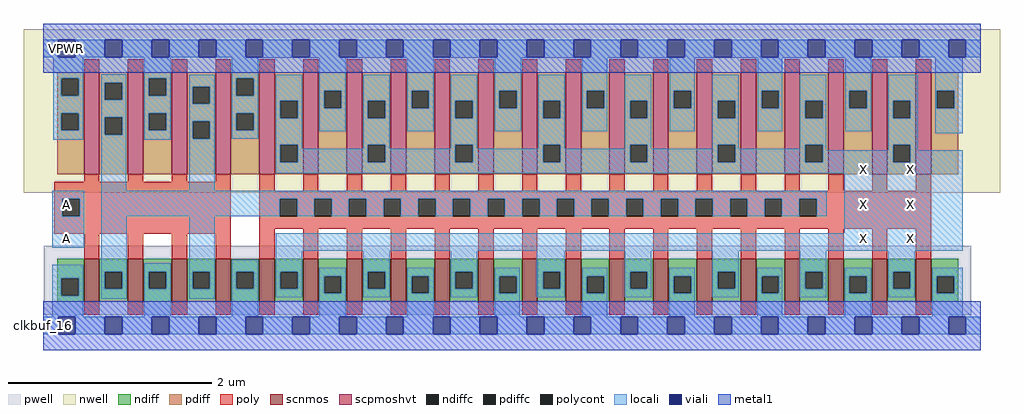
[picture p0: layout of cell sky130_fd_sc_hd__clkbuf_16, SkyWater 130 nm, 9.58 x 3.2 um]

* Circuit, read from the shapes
.subckt sky130_fd_sc_hd__clkbuf_16 VGND VPWR VPB VNB A X
XM1 n1 A VGND VNB sky130_fd_pr__nfet_01v8 w=0.42 l=0.15 m=4
XM2 X n1 VGND VNB sky130_fd_pr__nfet_01v8 w=0.42 l=0.15 m=16
XM3 n1 A VPWR VPB sky130_fd_pr__pfet_01v8_hvt w=1 l=0.15 m=4
XM4 X n1 VPWR VPB sky130_fd_pr__pfet_01v8_hvt w=1 l=0.15 m=16
.ends

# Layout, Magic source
magic
tech sky130B
magscale 1 2
<< nwell >>
rect -38 221 1878 542
<< pwell >>
rect 1 -19 1822 117
rect 29 -57 63 -19
<< scnmos >>
rect 80 7 110 91
rect 166 7 196 91
rect 252 7 282 91
rect 338 7 368 91
rect 424 7 454 91
rect 510 7 540 91
rect 596 7 626 91
rect 682 7 712 91
rect 768 7 798 91
rect 854 7 884 91
rect 940 7 970 91
rect 1026 7 1056 91
rect 1111 7 1141 91
rect 1197 7 1227 91
rect 1283 7 1313 91
rect 1369 7 1399 91
rect 1455 7 1485 91
rect 1541 7 1571 91
rect 1627 7 1657 91
rect 1713 7 1743 91
<< scpmoshvt >>
rect 80 257 110 457
rect 166 257 196 457
rect 252 257 282 457
rect 338 257 368 457
rect 424 257 454 457
rect 510 257 540 457
rect 596 257 626 457
rect 682 257 712 457
rect 768 257 798 457
rect 854 257 884 457
rect 940 257 970 457
rect 1026 257 1056 457
rect 1111 257 1141 457
rect 1197 257 1227 457
rect 1283 257 1313 457
rect 1369 257 1399 457
rect 1455 257 1485 457
rect 1541 257 1571 457
rect 1627 257 1657 457
rect 1713 257 1743 457
<< ndiff >>
rect 27 53 80 91
rect 27 19 35 53
rect 69 19 80 53
rect 27 7 80 19
rect 110 66 166 91
rect 110 32 121 66
rect 155 32 166 66
rect 110 7 166 32
rect 196 66 252 91
rect 196 32 207 66
rect 241 32 252 66
rect 196 7 252 32
rect 282 66 338 91
rect 282 32 293 66
rect 327 32 338 66
rect 282 7 338 32
rect 368 66 424 91
rect 368 32 379 66
rect 413 32 424 66
rect 368 7 424 32
rect 454 66 510 91
rect 454 32 465 66
rect 499 32 510 66
rect 454 7 510 32
rect 540 57 596 91
rect 540 23 551 57
rect 585 23 596 57
rect 540 7 596 23
rect 626 66 682 91
rect 626 32 637 66
rect 671 32 682 66
rect 626 7 682 32
rect 712 57 768 91
rect 712 23 723 57
rect 757 23 768 57
rect 712 7 768 23
rect 798 66 854 91
rect 798 32 809 66
rect 843 32 854 66
rect 798 7 854 32
rect 884 57 940 91
rect 884 23 895 57
rect 929 23 940 57
rect 884 7 940 23
rect 970 66 1026 91
rect 970 32 981 66
rect 1015 32 1026 66
rect 970 7 1026 32
rect 1056 57 1111 91
rect 1056 23 1067 57
rect 1101 23 1111 57
rect 1056 7 1111 23
rect 1141 66 1197 91
rect 1141 32 1152 66
rect 1186 32 1197 66
rect 1141 7 1197 32
rect 1227 57 1283 91
rect 1227 23 1238 57
rect 1272 23 1283 57
rect 1227 7 1283 23
rect 1313 66 1369 91
rect 1313 32 1324 66
rect 1358 32 1369 66
rect 1313 7 1369 32
rect 1399 57 1455 91
rect 1399 23 1410 57
rect 1444 23 1455 57
rect 1399 7 1455 23
rect 1485 66 1541 91
rect 1485 32 1496 66
rect 1530 32 1541 66
rect 1485 7 1541 32
rect 1571 57 1627 91
rect 1571 23 1582 57
rect 1616 23 1627 57
rect 1571 7 1627 23
rect 1657 66 1713 91
rect 1657 32 1668 66
rect 1702 32 1713 66
rect 1657 7 1713 32
rect 1743 57 1796 91
rect 1743 23 1754 57
rect 1788 23 1796 57
rect 1743 7 1796 23
<< pdiff >>
rect 27 445 80 457
rect 27 411 35 445
rect 69 411 80 445
rect 27 377 80 411
rect 27 343 35 377
rect 69 343 80 377
rect 27 257 80 343
rect 110 437 166 457
rect 110 403 121 437
rect 155 403 166 437
rect 110 369 166 403
rect 110 335 121 369
rect 155 335 166 369
rect 110 257 166 335
rect 196 445 252 457
rect 196 411 207 445
rect 241 411 252 445
rect 196 377 252 411
rect 196 343 207 377
rect 241 343 252 377
rect 196 257 252 343
rect 282 429 338 457
rect 282 395 293 429
rect 327 395 338 429
rect 282 361 338 395
rect 282 327 293 361
rect 327 327 338 361
rect 282 257 338 327
rect 368 445 424 457
rect 368 411 379 445
rect 413 411 424 445
rect 368 377 424 411
rect 368 343 379 377
rect 413 343 424 377
rect 368 257 424 343
rect 454 401 510 457
rect 454 367 465 401
rect 499 367 510 401
rect 454 315 510 367
rect 454 281 465 315
rect 499 281 510 315
rect 454 257 510 281
rect 540 421 596 457
rect 540 387 551 421
rect 585 387 596 421
rect 540 257 596 387
rect 626 401 682 457
rect 626 367 637 401
rect 671 367 682 401
rect 626 315 682 367
rect 626 281 637 315
rect 671 281 682 315
rect 626 257 682 281
rect 712 421 768 457
rect 712 387 723 421
rect 757 387 768 421
rect 712 257 768 387
rect 798 401 854 457
rect 798 367 809 401
rect 843 367 854 401
rect 798 315 854 367
rect 798 281 809 315
rect 843 281 854 315
rect 798 257 854 281
rect 884 421 940 457
rect 884 387 895 421
rect 929 387 940 421
rect 884 257 940 387
rect 970 401 1026 457
rect 970 367 981 401
rect 1015 367 1026 401
rect 970 315 1026 367
rect 970 281 981 315
rect 1015 281 1026 315
rect 970 257 1026 281
rect 1056 421 1111 457
rect 1056 387 1067 421
rect 1101 387 1111 421
rect 1056 257 1111 387
rect 1141 401 1197 457
rect 1141 367 1152 401
rect 1186 367 1197 401
rect 1141 315 1197 367
rect 1141 281 1152 315
rect 1186 281 1197 315
rect 1141 257 1197 281
rect 1227 421 1283 457
rect 1227 387 1238 421
rect 1272 387 1283 421
rect 1227 257 1283 387
rect 1313 401 1369 457
rect 1313 367 1324 401
rect 1358 367 1369 401
rect 1313 315 1369 367
rect 1313 281 1324 315
rect 1358 281 1369 315
rect 1313 257 1369 281
rect 1399 421 1455 457
rect 1399 387 1410 421
rect 1444 387 1455 421
rect 1399 257 1455 387
rect 1485 401 1541 457
rect 1485 367 1496 401
rect 1530 367 1541 401
rect 1485 315 1541 367
rect 1485 281 1496 315
rect 1530 281 1541 315
rect 1485 257 1541 281
rect 1571 421 1627 457
rect 1571 387 1582 421
rect 1616 387 1627 421
rect 1571 257 1627 387
rect 1657 401 1713 457
rect 1657 367 1668 401
rect 1702 367 1713 401
rect 1657 315 1713 367
rect 1657 281 1668 315
rect 1702 281 1713 315
rect 1657 257 1713 281
rect 1743 421 1796 457
rect 1743 387 1754 421
rect 1788 387 1796 421
rect 1743 257 1796 387
<< ndiffc >>
rect 35 19 69 53
rect 121 32 155 66
rect 207 32 241 66
rect 293 32 327 66
rect 379 32 413 66
rect 465 32 499 66
rect 551 23 585 57
rect 637 32 671 66
rect 723 23 757 57
rect 809 32 843 66
rect 895 23 929 57
rect 981 32 1015 66
rect 1067 23 1101 57
rect 1152 32 1186 66
rect 1238 23 1272 57
rect 1324 32 1358 66
rect 1410 23 1444 57
rect 1496 32 1530 66
rect 1582 23 1616 57
rect 1668 32 1702 66
rect 1754 23 1788 57
<< pdiffc >>
rect 35 411 69 445
rect 35 343 69 377
rect 121 403 155 437
rect 121 335 155 369
rect 207 411 241 445
rect 207 343 241 377
rect 293 395 327 429
rect 293 327 327 361
rect 379 411 413 445
rect 379 343 413 377
rect 465 367 499 401
rect 465 281 499 315
rect 551 387 585 421
rect 637 367 671 401
rect 637 281 671 315
rect 723 387 757 421
rect 809 367 843 401
rect 809 281 843 315
rect 895 387 929 421
rect 981 367 1015 401
rect 981 281 1015 315
rect 1067 387 1101 421
rect 1152 367 1186 401
rect 1152 281 1186 315
rect 1238 387 1272 421
rect 1324 367 1358 401
rect 1324 281 1358 315
rect 1410 387 1444 421
rect 1496 367 1530 401
rect 1496 281 1530 315
rect 1582 387 1616 421
rect 1668 367 1702 401
rect 1668 281 1702 315
rect 1754 387 1788 421
<< poly >>
rect 80 457 110 483
rect 166 457 196 483
rect 252 457 282 483
rect 338 457 368 483
rect 424 457 454 483
rect 510 457 540 483
rect 596 457 626 483
rect 682 457 712 483
rect 768 457 798 483
rect 854 457 884 483
rect 940 457 970 483
rect 1026 457 1056 483
rect 1111 457 1141 483
rect 1197 457 1227 483
rect 1283 457 1313 483
rect 1369 457 1399 483
rect 1455 457 1485 483
rect 1541 457 1571 483
rect 1627 457 1657 483
rect 1713 457 1743 483
rect 80 242 110 257
rect 166 242 196 257
rect 252 242 282 257
rect 338 242 368 257
rect 21 209 368 242
rect 21 175 37 209
rect 71 175 368 209
rect 21 140 368 175
rect 80 91 110 140
rect 166 91 196 140
rect 252 91 282 140
rect 338 91 368 140
rect 424 225 454 257
rect 510 225 540 257
rect 596 225 626 257
rect 682 225 712 257
rect 768 225 798 257
rect 854 225 884 257
rect 940 225 970 257
rect 1026 225 1056 257
rect 1111 225 1141 257
rect 1197 225 1227 257
rect 1283 225 1313 257
rect 1369 225 1399 257
rect 1455 225 1485 257
rect 1541 225 1571 257
rect 1627 225 1657 257
rect 1713 225 1743 257
rect 424 209 1743 225
rect 424 175 464 209
rect 498 175 532 209
rect 566 175 600 209
rect 634 175 668 209
rect 702 175 736 209
rect 770 175 804 209
rect 838 175 872 209
rect 906 175 940 209
rect 974 175 1008 209
rect 1042 175 1076 209
rect 1110 175 1144 209
rect 1178 175 1212 209
rect 1246 175 1280 209
rect 1314 175 1348 209
rect 1382 175 1416 209
rect 1450 175 1484 209
rect 1518 175 1743 209
rect 424 150 1743 175
rect 424 91 454 150
rect 510 91 540 150
rect 596 91 626 150
rect 682 91 712 150
rect 768 91 798 150
rect 854 91 884 150
rect 940 91 970 150
rect 1026 91 1056 150
rect 1111 91 1141 150
rect 1197 91 1227 150
rect 1283 91 1313 150
rect 1369 91 1399 150
rect 1455 91 1485 150
rect 1541 91 1571 150
rect 1627 91 1657 150
rect 1713 91 1743 150
rect 80 -19 110 7
rect 166 -19 196 7
rect 252 -19 282 7
rect 338 -19 368 7
rect 424 -19 454 7
rect 510 -19 540 7
rect 596 -19 626 7
rect 682 -19 712 7
rect 768 -19 798 7
rect 854 -19 884 7
rect 940 -19 970 7
rect 1026 -19 1056 7
rect 1111 -19 1141 7
rect 1197 -19 1227 7
rect 1283 -19 1313 7
rect 1369 -19 1399 7
rect 1455 -19 1485 7
rect 1541 -19 1571 7
rect 1627 -19 1657 7
rect 1713 -19 1743 7
<< polycont >>
rect 37 175 71 209
rect 464 175 498 209
rect 532 175 566 209
rect 600 175 634 209
rect 668 175 702 209
rect 736 175 770 209
rect 804 175 838 209
rect 872 175 906 209
rect 940 175 974 209
rect 1008 175 1042 209
rect 1076 175 1110 209
rect 1144 175 1178 209
rect 1212 175 1246 209
rect 1280 175 1314 209
rect 1348 175 1382 209
rect 1416 175 1450 209
rect 1484 175 1518 209
<< locali >>
rect 0 487 29 521
rect 63 487 121 521
rect 155 487 213 521
rect 247 487 305 521
rect 339 487 397 521
rect 431 487 489 521
rect 523 487 581 521
rect 615 487 673 521
rect 707 487 765 521
rect 799 487 857 521
rect 891 487 949 521
rect 983 487 1041 521
rect 1075 487 1133 521
rect 1167 487 1225 521
rect 1259 487 1317 521
rect 1351 487 1409 521
rect 1443 487 1501 521
rect 1535 487 1593 521
rect 1627 487 1685 521
rect 1719 487 1777 521
rect 1811 487 1840 521
rect 19 445 78 487
rect 19 411 35 445
rect 69 411 78 445
rect 19 377 78 411
rect 19 343 35 377
rect 69 343 78 377
rect 19 325 78 343
rect 114 437 163 453
rect 114 403 121 437
rect 155 403 163 437
rect 114 369 163 403
rect 114 335 121 369
rect 155 335 163 369
rect 114 225 163 335
rect 198 445 250 487
rect 370 486 1625 487
rect 198 411 207 445
rect 241 411 250 445
rect 198 377 250 411
rect 198 343 207 377
rect 241 343 250 377
rect 198 325 250 343
rect 286 429 336 452
rect 286 395 293 429
rect 327 395 336 429
rect 286 361 336 395
rect 286 327 293 361
rect 327 327 336 361
rect 370 445 422 486
rect 370 411 379 445
rect 413 411 422 445
rect 370 377 422 411
rect 370 343 379 377
rect 413 343 422 377
rect 370 327 422 343
rect 456 401 508 452
rect 456 367 465 401
rect 499 367 508 401
rect 286 225 336 327
rect 456 315 508 367
rect 542 421 594 486
rect 542 387 551 421
rect 585 387 594 421
rect 542 341 594 387
rect 628 401 680 452
rect 628 367 637 401
rect 671 367 680 401
rect 456 281 465 315
rect 499 307 508 315
rect 628 315 680 367
rect 714 421 766 486
rect 714 387 723 421
rect 757 387 766 421
rect 714 341 766 387
rect 800 401 852 452
rect 800 367 809 401
rect 843 367 852 401
rect 628 307 637 315
rect 499 281 637 307
rect 671 307 680 315
rect 800 315 852 367
rect 886 421 938 486
rect 886 387 895 421
rect 929 387 938 421
rect 886 341 938 387
rect 972 401 1024 452
rect 972 367 981 401
rect 1015 367 1024 401
rect 800 307 809 315
rect 671 281 809 307
rect 843 307 852 315
rect 972 315 1024 367
rect 1058 421 1107 486
rect 1058 387 1067 421
rect 1101 387 1107 421
rect 1058 341 1107 387
rect 1141 401 1193 452
rect 1141 367 1152 401
rect 1186 367 1193 401
rect 972 307 981 315
rect 843 281 981 307
rect 1015 307 1024 315
rect 1141 315 1193 367
rect 1230 421 1279 486
rect 1230 387 1238 421
rect 1272 387 1279 421
rect 1230 341 1279 387
rect 1313 401 1365 452
rect 1313 367 1324 401
rect 1358 367 1365 401
rect 1141 307 1152 315
rect 1015 281 1152 307
rect 1186 307 1193 315
rect 1313 315 1365 367
rect 1402 421 1451 486
rect 1402 387 1410 421
rect 1444 387 1451 421
rect 1402 341 1451 387
rect 1485 401 1537 452
rect 1485 367 1496 401
rect 1530 367 1537 401
rect 1313 307 1324 315
rect 1186 281 1324 307
rect 1358 307 1365 315
rect 1485 315 1537 367
rect 1574 421 1625 486
rect 1574 387 1582 421
rect 1616 387 1625 421
rect 1574 341 1625 387
rect 1659 401 1717 452
rect 1659 367 1668 401
rect 1702 367 1717 401
rect 1485 307 1496 315
rect 1358 281 1496 307
rect 1530 304 1537 315
rect 1659 315 1717 367
rect 1751 421 1805 487
rect 1751 387 1754 421
rect 1788 387 1805 421
rect 1751 338 1805 387
rect 1659 304 1668 315
rect 1530 281 1668 304
rect 1702 304 1717 315
rect 1702 281 1805 304
rect 456 259 1805 281
rect 17 209 80 225
rect 17 175 37 209
rect 71 175 80 209
rect 17 113 80 175
rect 114 209 1538 225
rect 114 175 464 209
rect 498 175 532 209
rect 566 175 600 209
rect 634 175 668 209
rect 702 175 736 209
rect 770 175 804 209
rect 838 175 872 209
rect 906 175 940 209
rect 974 175 1008 209
rect 1042 175 1076 209
rect 1110 175 1144 209
rect 1178 175 1212 209
rect 1246 175 1280 209
rect 1314 175 1348 209
rect 1382 175 1416 209
rect 1450 175 1484 209
rect 1518 175 1538 209
rect 17 53 78 79
rect 17 19 35 53
rect 69 19 78 53
rect 17 -23 78 19
rect 114 66 164 175
rect 114 32 121 66
rect 155 32 164 66
rect 114 13 164 32
rect 198 66 250 82
rect 198 32 207 66
rect 241 32 250 66
rect 198 -23 250 32
rect 286 66 336 175
rect 1572 141 1805 259
rect 456 107 1805 141
rect 286 32 293 66
rect 327 32 336 66
rect 286 13 336 32
rect 370 66 422 89
rect 370 32 379 66
rect 413 32 422 66
rect 370 -23 422 32
rect 456 66 508 107
rect 456 32 465 66
rect 499 32 508 66
rect 456 16 508 32
rect 542 57 594 73
rect 542 23 551 57
rect 585 23 594 57
rect 542 -23 594 23
rect 628 66 680 107
rect 628 32 637 66
rect 671 32 680 66
rect 628 16 680 32
rect 714 57 766 73
rect 714 23 723 57
rect 757 23 766 57
rect 714 -23 766 23
rect 800 66 852 107
rect 800 32 809 66
rect 843 32 852 66
rect 800 16 852 32
rect 886 57 935 73
rect 886 23 895 57
rect 929 23 935 57
rect 886 -23 935 23
rect 969 66 1024 107
rect 969 32 981 66
rect 1015 32 1024 66
rect 969 16 1024 32
rect 1058 57 1107 73
rect 1058 23 1067 57
rect 1101 23 1107 57
rect 1058 -23 1107 23
rect 1141 66 1193 107
rect 1141 32 1152 66
rect 1186 32 1193 66
rect 1141 16 1193 32
rect 1229 57 1279 73
rect 1229 23 1238 57
rect 1272 23 1279 57
rect 1229 -23 1279 23
rect 1313 66 1365 107
rect 1313 32 1324 66
rect 1358 32 1365 66
rect 1313 16 1365 32
rect 1401 57 1451 73
rect 1401 23 1410 57
rect 1444 23 1451 57
rect 1401 -23 1451 23
rect 1485 66 1537 107
rect 1485 32 1496 66
rect 1530 32 1537 66
rect 1485 16 1537 32
rect 1573 57 1625 73
rect 1573 23 1582 57
rect 1616 23 1625 57
rect 1573 -23 1625 23
rect 1659 66 1711 107
rect 1659 32 1668 66
rect 1702 32 1711 66
rect 1659 16 1711 32
rect 1745 57 1805 73
rect 1745 23 1754 57
rect 1788 23 1805 57
rect 1745 -23 1805 23
rect 0 -57 29 -23
rect 63 -57 121 -23
rect 155 -57 213 -23
rect 247 -57 305 -23
rect 339 -57 397 -23
rect 431 -57 489 -23
rect 523 -57 581 -23
rect 615 -57 673 -23
rect 707 -57 765 -23
rect 799 -57 857 -23
rect 891 -57 949 -23
rect 983 -57 1041 -23
rect 1075 -57 1133 -23
rect 1167 -57 1225 -23
rect 1259 -57 1317 -23
rect 1351 -57 1409 -23
rect 1443 -57 1501 -23
rect 1535 -57 1593 -23
rect 1627 -57 1685 -23
rect 1719 -57 1777 -23
rect 1811 -57 1840 -23
<< viali >>
rect 29 487 63 521
rect 121 487 155 521
rect 213 487 247 521
rect 305 487 339 521
rect 397 487 431 521
rect 489 487 523 521
rect 581 487 615 521
rect 673 487 707 521
rect 765 487 799 521
rect 857 487 891 521
rect 949 487 983 521
rect 1041 487 1075 521
rect 1133 487 1167 521
rect 1225 487 1259 521
rect 1317 487 1351 521
rect 1409 487 1443 521
rect 1501 487 1535 521
rect 1593 487 1627 521
rect 1685 487 1719 521
rect 1777 487 1811 521
rect 29 -57 63 -23
rect 121 -57 155 -23
rect 213 -57 247 -23
rect 305 -57 339 -23
rect 397 -57 431 -23
rect 489 -57 523 -23
rect 581 -57 615 -23
rect 673 -57 707 -23
rect 765 -57 799 -23
rect 857 -57 891 -23
rect 949 -57 983 -23
rect 1041 -57 1075 -23
rect 1133 -57 1167 -23
rect 1225 -57 1259 -23
rect 1317 -57 1351 -23
rect 1409 -57 1443 -23
rect 1501 -57 1535 -23
rect 1593 -57 1627 -23
rect 1685 -57 1719 -23
rect 1777 -57 1811 -23
<< metal1 >>
rect 0 521 1840 552
rect 0 487 29 521
rect 63 487 121 521
rect 155 487 213 521
rect 247 487 305 521
rect 339 487 397 521
rect 431 487 489 521
rect 523 487 581 521
rect 615 487 673 521
rect 707 487 765 521
rect 799 487 857 521
rect 891 487 949 521
rect 983 487 1041 521
rect 1075 487 1133 521
rect 1167 487 1225 521
rect 1259 487 1317 521
rect 1351 487 1409 521
rect 1443 487 1501 521
rect 1535 487 1593 521
rect 1627 487 1685 521
rect 1719 487 1777 521
rect 1811 487 1840 521
rect 0 456 1840 487
rect 0 -23 1840 8
rect 0 -57 29 -23
rect 63 -57 121 -23
rect 155 -57 213 -23
rect 247 -57 305 -23
rect 339 -57 397 -23
rect 431 -57 489 -23
rect 523 -57 581 -23
rect 615 -57 673 -23
rect 707 -57 765 -23
rect 799 -57 857 -23
rect 891 -57 949 -23
rect 983 -57 1041 -23
rect 1075 -57 1133 -23
rect 1167 -57 1225 -23
rect 1259 -57 1317 -23
rect 1351 -57 1409 -23
rect 1443 -57 1501 -23
rect 1535 -57 1593 -23
rect 1627 -57 1685 -23
rect 1719 -57 1777 -23
rect 1811 -57 1840 -23
rect 0 -88 1840 -57
<< labels >>
rlabel comment s 0 -40 0 -40 4 clkbuf_16
flabel metal1 s 29 -57 63 -23 0 FreeSans 200 0 0 0 VGND
port 2 nsew
flabel metal1 s 29 487 63 521 0 FreeSans 200 0 0 0 VPWR
port 3 nsew
flabel nwell s 29 487 63 521 0 FreeSans 200 0 0 0 VPB
port 5 nsew
flabel nwell s 46 504 46 504 0 FreeSans 200 0 0 0 VPB
flabel pwell s 29 -57 63 -23 0 FreeSans 200 0 0 0 VNB
port 6 nsew
flabel pwell s 46 -40 46 -40 0 FreeSans 200 0 0 0 VNB
flabel locali s 1593 249 1627 283 0 FreeSans 200 0 0 0 X
port 8 nsew
flabel locali s 1685 249 1719 283 0 FreeSans 200 0 0 0 X
port 8 nsew
flabel locali s 1685 181 1719 215 0 FreeSans 200 0 0 0 X
port 8 nsew
flabel locali s 1593 181 1627 215 0 FreeSans 200 0 0 0 X
port 8 nsew
flabel locali s 1593 113 1627 147 0 FreeSans 200 0 0 0 X
port 8 nsew
flabel locali s 1685 113 1719 147 0 FreeSans 200 0 0 0 X
port 8 nsew
flabel locali s 29 113 63 147 0 FreeSans 200 0 0 0 A
port 7 nsew
flabel locali s 29 181 63 215 0 FreeSans 200 0 0 0 A
port 7 nsew
<< properties >>
string FIXED_BBOX 0 -40 1840 504
<< end >>
